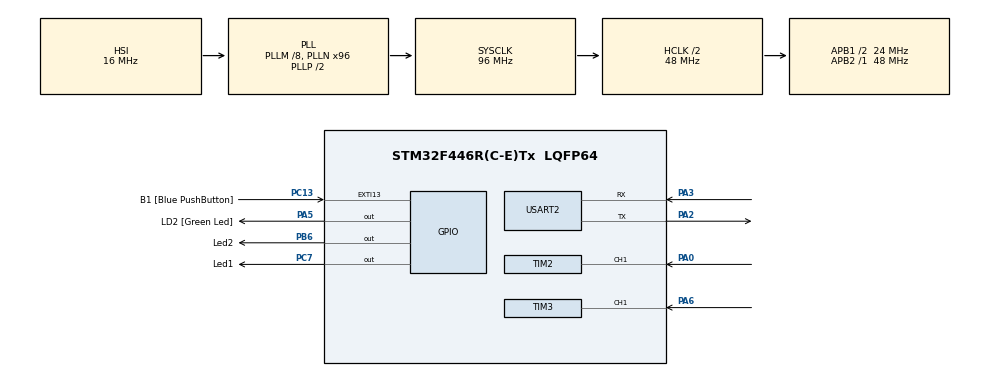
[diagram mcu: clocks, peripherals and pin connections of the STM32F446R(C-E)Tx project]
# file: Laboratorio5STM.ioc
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Mcu.Family=STM32F4
Mcu.Name=STM32F446R(C-E)Tx
Mcu.Package=LQFP64
NVIC.PriorityGroup=NVIC_PRIORITYGROUP_0
NVIC.TIM2_IRQn=true\:0\:0\:false\:false\:true\:true\:true\:true
NVIC.TIM3_IRQn=true\:0\:0\:false\:false\:true\:true\:true\:true
NVIC.TIM4_IRQn=true\:0\:0\:false\:false\:true\:true\:true\:true
PA0-WKUP.Signal=S_TIM2_CH1_ETR
PA13.GPIO_Label=TMS
PA13.Mode=Serial_Wire
PA13.Signal=SYS_JTMS-SWDIO
PA14.GPIO_Label=TCK
PA14.Mode=Serial_Wire
PA14.Signal=SYS_JTCK-SWCLK
PA2.GPIO_ModeDefaultPP=GPIO_MODE_AF_PP
PA2.GPIO_PuPd=GPIO_NOPULL
PA2.GPIO_Speed=GPIO_SPEED_FREQ_VERY_HIGH
PA2.Mode=Asynchronous
PA2.Signal=USART2_TX
PA3.GPIO_ModeDefaultPP=GPIO_MODE_AF_PP
PA3.GPIO_PuPd=GPIO_NOPULL
PA3.GPIO_Speed=GPIO_SPEED_FREQ_VERY_HIGH
PA3.Mode=Asynchronous
PA3.Signal=USART2_RX
PA5.GPIO_Label=LD2 [Green Led]
PA5.Signal=GPIO_Output
PA6.Signal=S_TIM3_CH1
PB3.GPIO_Label=SWO
PB3.Signal=SYS_JTDO-SWO
PB6.GPIO_Label=Led2
PB6.Signal=GPIO_Output
PC13.GPIO_Label=B1 [Blue PushButton]
PC13.GPIO_ModeDefaultEXTI=GPIO_MODE_IT_FALLING
PC13.Signal=GPXTI13
PC14-OSC32_IN.Signal=RCC_OSC32_IN
PC15-OSC32_OUT.Signal=RCC_OSC32_OUT
PC7.GPIO_Label=Led1
PC7.Signal=GPIO_Output
PH0-OSC_IN.Mode=HSE-External-Clock-Source
PH0-OSC_IN.Signal=RCC_OSC_IN
PH1-OSC_OUT.Mode=HSE-External-Clock-Source
PH1-OSC_OUT.Signal=RCC_OSC_OUT
ProjectManager.HeapSize=0x200
ProjectManager.StackSize=0x400
ProjectManager.TargetToolchain=STM32CubeIDE
RCC.AHBCLKDivider=RCC_SYSCLK_DIV2
RCC.AHBFreq_Value=48000000
RCC.APB1CLKDivider=RCC_HCLK_DIV2
RCC.APB1Freq_Value=24000000
RCC.APB1TimFreq_Value=48000000
RCC.APB2Freq_Value=48000000
RCC.APB2TimFreq_Value=48000000
RCC.CortexFreq_Value=48000000
RCC.FLatency-AdvancedSettings=FLASH_LATENCY_1
RCC.HCLKFreq_Value=48000000
RCC.HSE_VALUE=8000000
RCC.HSI_VALUE=16000000
RCC.LSE_VALUE=32768
RCC.PLLM=8
RCC.PLLN=96
RCC.SYSCLKFreq_VALUE=96000000
RCC.SYSCLKSource=RCC_SYSCLKSOURCE_PLLCLK
RCC.USBFreq_Value=96000000
RCC.VCOOutputFreq_Value=192000000
SH.S_TIM2_CH1_ETR.0=TIM2_CH1,Input_Capture1_from_TI1
SH.S_TIM3_CH1.0=TIM3_CH1,Input_Capture1_from_TI1
TIM2.AutoReloadPreload=TIM_AUTORELOAD_PRELOAD_ENABLE
TIM2.Channel-Input_Capture1_from_TI1=TIM_CHANNEL_1
TIM2.Prescaler=47
TIM3.Channel-Input_Capture1_from_TI1=TIM_CHANNEL_1
TIM3.Period=249
TIM3.Prescaler=47999
TIM4.Period=999
TIM4.Prescaler=47999
USART2.VirtualMode=VM_ASYNC
VP_TIM2_VS_ClockSourceINT.Mode=Internal
VP_TIM3_VS_ClockSourceINT.Mode=Internal
VP_TIM4_VS_ClockSourceINT.Mode=Internal
board=NUCLEO-F446RE

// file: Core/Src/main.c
/* USER CODE BEGIN Header */
/**
  ******************************************************************************
  * @file           : main.c
  * @brief          : Laboratorio 5 - Timers y UART
  ******************************************************************************
  */
/* USER CODE END Header */

#include "main.h"

/* USER CODE BEGIN Includes */
#include <stdio.h>
#include <string.h>
/* USER CODE END Includes */

/* USER CODE BEGIN PD */

/*
 * CLOCK CONFIGURATION
 *
 * SYSCLK = 96 MHz
 * HCLK   = 48 MHz
 * PCLK1  = 24 MHz
 *
 * APB1 Prescaler = 2
 * Timer Clock APB1 = 2 * PCLK1 = 48 MHz
 *
 * TIM2 Prescaler = 47
 *
 * TIM2 Counter Clock:
 *
 * 48 MHz / (47 + 1) = 1 MHz
 *
 * Por lo tanto:
 * 1 tick TIM2 = 1 us
 */
#define TIM2_COUNTER_HZ 1000000UL

/* UART cada 100 ms */
#define UART_PERIOD_MS 100U

/* USER CODE END PD */

TIM_HandleTypeDef htim2;
TIM_HandleTypeDef htim3;
TIM_HandleTypeDef htim4;

UART_HandleTypeDef huart2;

/* USER CODE BEGIN PV */

/* Input Capture TIM2 */
volatile uint32_t captura1 = 0;
volatile uint32_t captura2 = 0;
volatile uint32_t diferencia = 0;

volatile float frecuencia = 0.0f;

volatile uint8_t primeraCaptura = 0;
volatile uint8_t nuevaMedicion = 0;

/* Variable de diagnostico */
volatile uint32_t contadorCapturas = 0;

/* UART */
char mensaje[100];

uint32_t tiempoUART = 0;

/* USER CODE END PV */

void SystemClock_Config(void);

static void MX_GPIO_Init(void);
static void MX_TIM2_Init(void);
static void MX_USART2_UART_Init(void);
static void MX_TIM3_Init(void);
static void MX_TIM4_Init(void);

int main(void)
{

  /* MCU Configuration--------------------------------------------------------*/

  HAL_Init();

  /* Configure the system clock */
  SystemClock_Config();

  /* Initialize all configured peripherals */

  MX_GPIO_Init();

  MX_TIM2_Init();

  MX_USART2_UART_Init();

  MX_TIM3_Init();

  MX_TIM4_Init();

  /* USER CODE BEGIN 2 */

  /* ==========================================================
   * TIM2
   * Input Capture para medir frecuencia por PA0
   * ========================================================== */

  if (HAL_TIM_IC_Start_IT(&htim2, TIM_CHANNEL_1) != HAL_OK)
  {
    Error_Handler();
  }

  /* ==========================================================
   * TIM3
   *
   * PSC = 47999
   * ARR = 249
   *
   * Interrupcion cada 250 ms
   *
   * LED1:
   * 250 ms ON
   * 250 ms OFF
   *
   * Periodo = 500 ms
   * ========================================================== */

  if (HAL_TIM_Base_Start_IT(&htim3) != HAL_OK)
  {
    Error_Handler();
  }

  /* ==========================================================
   * TIM4
   *
   * PSC = 47999
   * ARR = 999
   *
   * Interrupcion cada 1 segundo
   *
   * LED2:
   * 1 s ON
   * 1 s OFF
   *
   * Periodo = 2 segundos
   * ========================================================== */

  if (HAL_TIM_Base_Start_IT(&htim4) != HAL_OK)
  {
    Error_Handler();
  }

  /* Estado inicial de los LEDs */

  HAL_GPIO_WritePin(
      Led1_GPIO_Port,
      Led1_Pin,
      GPIO_PIN_RESET
  );

  HAL_GPIO_WritePin(
      Led2_GPIO_Port,
      Led2_Pin,
      GPIO_PIN_RESET
  );

  /* Mensaje inicial UART */

  const char inicio[] =
      "\r\n"
      "Laboratorio 5 - STM32F446RE\r\n"
      "TIM2: Medidor de frecuencia\r\n"
      "TIM3: LED1 - Periodo 500 ms\r\n"
      "TIM4: LED2 - Periodo 2 s\r\n"
      "\r\n";

  HAL_UART_Transmit(
      &huart2,
      (uint8_t *)inicio,
      (uint16_t)strlen(inicio),
      HAL_MAX_DELAY
  );

  tiempoUART = HAL_GetTick();

  /* USER CODE END 2 */

  /* Infinite loop */

  /* USER CODE BEGIN WHILE */

  while (1)
  {

    /* ==========================================================
     * UART
     *
     * Enviar una lectura cada 100 ms.
     *
     * ========================================================== */

    if ((HAL_GetTick() - tiempoUART) >= UART_PERIOD_MS)
    {

      tiempoUART = HAL_GetTick();

      if (nuevaMedicion)
      {

        float frecuenciaLocal = frecuencia;

        nuevaMedicion = 0;

        int longitud = snprintf(
            mensaje,
            sizeof(mensaje),
            "Frecuencia: %.2f Hz\r\n",
            frecuenciaLocal
        );

        if (longitud > 0)
        {

          HAL_UART_Transmit(
              &huart2,
              (uint8_t *)mensaje,
              (uint16_t)longitud,
              100
          );

        }

      }

    }

    /* USER CODE END WHILE */

  }
}

void SystemClock_Config(void)
{

  RCC_OscInitTypeDef RCC_OscInitStruct = {0};

  RCC_ClkInitTypeDef RCC_ClkInitStruct = {0};

  /* Configure the main internal regulator output voltage */

  __HAL_RCC_PWR_CLK_ENABLE();

  __HAL_PWR_VOLTAGESCALING_CONFIG(
      PWR_REGULATOR_VOLTAGE_SCALE3
  );

  /* Initializes the RCC Oscillators */

  RCC_OscInitStruct.OscillatorType =
      RCC_OSCILLATORTYPE_HSI;

  RCC_OscInitStruct.HSIState =
      RCC_HSI_ON;

  RCC_OscInitStruct.HSICalibrationValue =
      RCC_HSICALIBRATION_DEFAULT;

  RCC_OscInitStruct.PLL.PLLState =
      RCC_PLL_ON;

  RCC_OscInitStruct.PLL.PLLSource =
      RCC_PLLSOURCE_HSI;

  RCC_OscInitStruct.PLL.PLLM = 8;

  RCC_OscInitStruct.PLL.PLLN = 96;

  RCC_OscInitStruct.PLL.PLLP =
      RCC_PLLP_DIV2;

  RCC_OscInitStruct.PLL.PLLQ = 2;

  RCC_OscInitStruct.PLL.PLLR = 2;

  if (HAL_RCC_OscConfig(&RCC_OscInitStruct) != HAL_OK)
  {
    Error_Handler();
  }

  /* Initializes CPU, AHB and APB buses clocks */

  RCC_ClkInitStruct.ClockType =
      RCC_CLOCKTYPE_HCLK |
      RCC_CLOCKTYPE_SYSCLK |
      RCC_CLOCKTYPE_PCLK1 |
      RCC_CLOCKTYPE_PCLK2;

  RCC_ClkInitStruct.SYSCLKSource =
      RCC_SYSCLKSOURCE_PLLCLK;

  RCC_ClkInitStruct.AHBCLKDivider =
      RCC_SYSCLK_DIV2;

  RCC_ClkInitStruct.APB1CLKDivider =
      RCC_HCLK_DIV2;

  RCC_ClkInitStruct.APB2CLKDivider =
      RCC_HCLK_DIV1;

  if (HAL_RCC_ClockConfig(
          &RCC_ClkInitStruct,
          FLASH_LATENCY_1) != HAL_OK)
  {
    Error_Handler();
  }

}

static void MX_TIM2_Init(void)
{

  TIM_ClockConfigTypeDef sClockSourceConfig = {0};

  TIM_MasterConfigTypeDef sMasterConfig = {0};

  TIM_IC_InitTypeDef sConfigIC = {0};

  htim2.Instance = TIM2;

  /*
   * TIM2 Clock = 48 MHz
   *
   * PSC = 47
   *
   * Counter:
   *
   * 48 MHz / 48 = 1 MHz
   */
  htim2.Init.Prescaler = 47;

  htim2.Init.CounterMode =
      TIM_COUNTERMODE_UP;

  /*
   * TIM2 es de 32 bits
   */
  htim2.Init.Period =
      4294967295;

  htim2.Init.ClockDivision =
      TIM_CLOCKDIVISION_DIV1;

  htim2.Init.AutoReloadPreload =
      TIM_AUTORELOAD_PRELOAD_ENABLE;

  if (HAL_TIM_Base_Init(&htim2) != HAL_OK)
  {
    Error_Handler();
  }

  sClockSourceConfig.ClockSource =
      TIM_CLOCKSOURCE_INTERNAL;

  if (HAL_TIM_ConfigClockSource(
          &htim2,
          &sClockSourceConfig) != HAL_OK)
  {
    Error_Handler();
  }

  if (HAL_TIM_IC_Init(&htim2) != HAL_OK)
  {
    Error_Handler();
  }

  sMasterConfig.MasterOutputTrigger =
      TIM_TRGO_RESET;

  sMasterConfig.MasterSlaveMode =
      TIM_MASTERSLAVEMODE_DISABLE;

  if (HAL_TIMEx_MasterConfigSynchronization(
          &htim2,
          &sMasterConfig) != HAL_OK)
  {
    Error_Handler();
  }

  /* Input Capture CH1 */

  sConfigIC.ICPolarity =
      TIM_INPUTCHANNELPOLARITY_RISING;

  sConfigIC.ICSelection =
      TIM_ICSELECTION_DIRECTTI;

  sConfigIC.ICPrescaler =
      TIM_ICPSC_DIV1;

  sConfigIC.ICFilter = 0;

  if (HAL_TIM_IC_ConfigChannel(
          &htim2,
          &sConfigIC,
          TIM_CHANNEL_1) != HAL_OK)
  {
    Error_Handler();
  }

}

static void MX_TIM3_Init(void)
{

  TIM_ClockConfigTypeDef sClockSourceConfig = {0};

  TIM_MasterConfigTypeDef sMasterConfig = {0};

  TIM_IC_InitTypeDef sConfigIC = {0};

  htim3.Instance = TIM3;

  /*
   * TIM3 Clock = 48 MHz
   *
   *
   */
  htim3.Init.Prescaler = 47999;

  htim3.Init.CounterMode =
      TIM_COUNTERMODE_UP;

  /*
   * 1000 Hz / (249 + 1)
   *
   * = 4 Hz
   *
   * Interrupcion cada 250 ms
   */
  htim3.Init.Period = 249;

  htim3.Init.ClockDivision =
      TIM_CLOCKDIVISION_DIV1;

  htim3.Init.AutoReloadPreload =
      TIM_AUTORELOAD_PRELOAD_DISABLE;

  if (HAL_TIM_Base_Init(&htim3) != HAL_OK)
  {
    Error_Handler();
  }

  sClockSourceConfig.ClockSource =
      TIM_CLOCKSOURCE_INTERNAL;

  if (HAL_TIM_ConfigClockSource(
          &htim3,
          &sClockSourceConfig) != HAL_OK)
  {
    Error_Handler();
  }

  if (HAL_TIM_IC_Init(&htim3) != HAL_OK)
  {
    Error_Handler();
  }

  sMasterConfig.MasterOutputTrigger =
      TIM_TRGO_RESET;

  sMasterConfig.MasterSlaveMode =
      TIM_MASTERSLAVEMODE_DISABLE;

  if (HAL_TIMEx_MasterConfigSynchronization(
          &htim3,
          &sMasterConfig) != HAL_OK)
  {
    Error_Handler();
  }

  sConfigIC.ICPolarity =
      TIM_INPUTCHANNELPOLARITY_RISING;

  sConfigIC.ICSelection =
      TIM_ICSELECTION_DIRECTTI;

  sConfigIC.ICPrescaler =
      TIM_ICPSC_DIV1;

  sConfigIC.ICFilter = 0;

  if (HAL_TIM_IC_ConfigChannel(
          &htim3,
          &sConfigIC,
          TIM_CHANNEL_1) != HAL_OK)
  {
    Error_Handler();
  }

}

static void MX_TIM4_Init(void)
{

  TIM_ClockConfigTypeDef sClockSourceConfig = {0};

  TIM_MasterConfigTypeDef sMasterConfig = {0};

  htim4.Instance = TIM4;

  /*
   * TIM4 Clock = 48 MHz
   *
   * 48 MHz / (47999 + 1)
   *
   * = 1000 Hz
   */
  htim4.Init.Prescaler = 47999;

  htim4.Init.CounterMode =
      TIM_COUNTERMODE_UP;

  /*
   * 1000 Hz / (999 + 1)
   *
   * = 1 Hz
   *
   * Interrupcion cada 1 segundo
   */
  htim4.Init.Period = 999;

  htim4.Init.ClockDivision =
      TIM_CLOCKDIVISION_DIV1;

  htim4.Init.AutoReloadPreload =
      TIM_AUTORELOAD_PRELOAD_DISABLE;

  if (HAL_TIM_Base_Init(&htim4) != HAL_OK)
  {
    Error_Handler();
  }

  sClockSourceConfig.ClockSource =
      TIM_CLOCKSOURCE_INTERNAL;

  if (HAL_TIM_ConfigClockSource(
          &htim4,
          &sClockSourceConfig) != HAL_OK)
  {
    Error_Handler();
  }

  sMasterConfig.MasterOutputTrigger =
      TIM_TRGO_RESET;

  sMasterConfig.MasterSlaveMode =
      TIM_MASTERSLAVEMODE_DISABLE;

  if (HAL_TIMEx_MasterConfigSynchronization(
          &htim4,
          &sMasterConfig) != HAL_OK)
  {
    Error_Handler();
  }

}

static void MX_USART2_UART_Init(void)
{

  huart2.Instance =
      USART2;

  huart2.Init.BaudRate =
      115200;

  huart2.Init.WordLength =
      UART_WORDLENGTH_8B;

  huart2.Init.StopBits =
      UART_STOPBITS_1;

  huart2.Init.Parity =
      UART_PARITY_NONE;

  huart2.Init.Mode =
      UART_MODE_TX_RX;

  huart2.Init.HwFlowCtl =
      UART_HWCONTROL_NONE;

  huart2.Init.OverSampling =
      UART_OVERSAMPLING_16;

  if (HAL_UART_Init(&huart2) != HAL_OK)
  {
    Error_Handler();
  }

}

static void MX_GPIO_Init(void)
{

  GPIO_InitTypeDef GPIO_InitStruct = {0};

  /* GPIO Ports Clock Enable */

  __HAL_RCC_GPIOC_CLK_ENABLE();

  __HAL_RCC_GPIOH_CLK_ENABLE();

  __HAL_RCC_GPIOA_CLK_ENABLE();

  __HAL_RCC_GPIOB_CLK_ENABLE();

  /* Output levels */

  HAL_GPIO_WritePin(
      LD2_GPIO_Port,
      LD2_Pin,
      GPIO_PIN_RESET
  );

  HAL_GPIO_WritePin(
      Led1_GPIO_Port,
      Led1_Pin,
      GPIO_PIN_RESET
  );

  HAL_GPIO_WritePin(
      Led2_GPIO_Port,
      Led2_Pin,
      GPIO_PIN_RESET
  );

  /* B1 */

  GPIO_InitStruct.Pin =
      B1_Pin;

  GPIO_InitStruct.Mode =
      GPIO_MODE_IT_FALLING;

  GPIO_InitStruct.Pull =
      GPIO_NOPULL;

  HAL_GPIO_Init(
      B1_GPIO_Port,
      &GPIO_InitStruct
  );

  /* LD2 */

  GPIO_InitStruct.Pin =
      LD2_Pin;

  GPIO_InitStruct.Mode =
      GPIO_MODE_OUTPUT_PP;

  GPIO_InitStruct.Pull =
      GPIO_NOPULL;

  GPIO_InitStruct.Speed =
      GPIO_SPEED_FREQ_LOW;

  HAL_GPIO_Init(
      LD2_GPIO_Port,
      &GPIO_InitStruct
  );

  /* LED1 */

  GPIO_InitStruct.Pin =
      Led1_Pin;

  GPIO_InitStruct.Mode =
      GPIO_MODE_OUTPUT_PP;

  GPIO_InitStruct.Pull =
      GPIO_NOPULL;

  GPIO_InitStruct.Speed =
      GPIO_SPEED_FREQ_LOW;

  HAL_GPIO_Init(
      Led1_GPIO_Port,
      &GPIO_InitStruct
  );

  /* LED2 */

  GPIO_InitStruct.Pin =
      Led2_Pin;

  GPIO_InitStruct.Mode =
      GPIO_MODE_OUTPUT_PP;

  GPIO_InitStruct.Pull =
      GPIO_NOPULL;

  GPIO_InitStruct.Speed =
      GPIO_SPEED_FREQ_LOW;

  HAL_GPIO_Init(
      Led2_GPIO_Port,
      &GPIO_InitStruct
  );

}

/* USER CODE BEGIN 4 */

/* ============================================================
 * TIM2 INPUT CAPTURE CALLBACK
 * ============================================================ */

void HAL_TIM_IC_CaptureCallback(TIM_HandleTypeDef *htim)
{

  /*
   * Verificar TIM2
   */
  if (htim->Instance == TIM2)
  {

    /*
     * Verificar Channel 1
     */
    if (htim->Channel == HAL_TIM_ACTIVE_CHANNEL_1)
    {

      /*
       * Contador para debug.
       *
       * Debe aumentar con cada flanco recibido
       * en PA0.
       */
      contadorCapturas++;

      /* ======================================================
       * PRIMERA CAPTURA
       * ====================================================== */

      if (primeraCaptura == 0)
      {

        captura1 =
            HAL_TIM_ReadCapturedValue(
                htim,
                TIM_CHANNEL_1
            );

        primeraCaptura = 1;

      }

      /* ======================================================
       * SEGUNDA CAPTURA Y SIGUIENTES
       * ====================================================== */

      else
      {

        captura2 =
            HAL_TIM_ReadCapturedValue(
                htim,
                TIM_CHANNEL_1
            );

        /*
         * Sin overflow
         */
        if (captura2 >= captura1)
        {

          diferencia =
              captura2 - captura1;

        }

        /*
         * Con overflow del contador de 32 bits
         */
        else
        {

          diferencia =
              (0xFFFFFFFFU - captura1)
              + captura2
              + 1U;

        }

        /*
         * Calcular frecuencia
         *
         */

        if (diferencia != 0U)
        {

          frecuencia =
              (float)TIM2_COUNTER_HZ /
              (float)diferencia;

          nuevaMedicion = 1;

        }

        /*
         * Preparar siguiente medicion
         */
        captura1 = captura2;

      }

    }

  }

}

/* ============================================================
 * TIM3 / TIM4 BASE TIMER CALLBACK
 * ============================================================ */

void HAL_TIM_PeriodElapsedCallback(TIM_HandleTypeDef *htim)
{

  /* ==========================================================
   * TIM3
   *
   * Interrupcion cada 250 ms
   *
   * LED1:
   *
   * HIGH 250 ms
   * LOW  250 ms
   *
   * Periodo = 500 ms
   * Frecuencia = 2 Hz
   * ========================================================== */

  if (htim->Instance == TIM3)
  {

    HAL_GPIO_TogglePin(
        Led1_GPIO_Port,
        Led1_Pin
    );

  }

  /* ==========================================================
   * TIM4
   *
   * Interrupcion cada 1 segundo
   *
   * LED2:
   *
   * HIGH 1 s
   * LOW  1 s
   *
   * Periodo = 2 segundos
   * Frecuencia = 0.5 Hz
   * ========================================================== */

  if (htim->Instance == TIM4)
  {

    HAL_GPIO_TogglePin(
        Led2_GPIO_Port,
        Led2_Pin
    );

  }

}

/* USER CODE END 4 */

void Error_Handler(void)
{

  __disable_irq();
  while (1)
  {
  }

}
